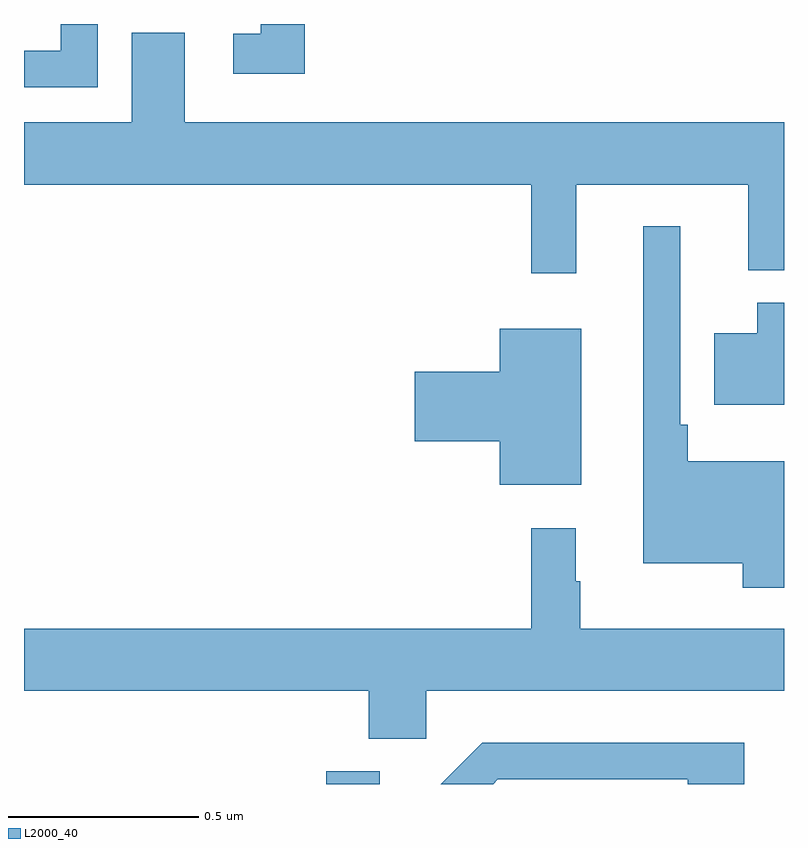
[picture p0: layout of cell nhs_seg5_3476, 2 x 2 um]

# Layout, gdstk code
import gdstk
lib = gdstk.Library(unit=1e-6, precision=1e-09)
def R(c, l, rs):  # rectangles x0, y0, x1, y1
    for r in rs: c.add(gdstk.rectangle(r[:2], r[2:], *l))
def P(c, l, *ps):  # polygons
    for p in ps: c.add(gdstk.Polygon(p, *l))
L2000_40 = (2000, 40)

nhs_seg5_3476 = lib.new_cell('nhs_seg5_3476')
R(nhs_seg5_3476, L2000_40, [(157.796,905.799,157.936,905.833)])
P(nhs_seg5_3476, L2000_40, [(157.194,907.799),(157.097,907.799),(157.097,907.728),(157,907.728),(157,907.632),(157.194,907.632)],
  [(157.739,907.799),(157.623,907.799),(157.623,907.773),(157.551,907.773),(157.551,907.668),(157.739,907.668)],
  [(158.453,907.376),(158.906,907.376),(158.906,907.151),(159,907.151),(159,907.54),(157.423,907.54),(157.423,907.776),(157.283,907.776),(157.283,907.54),(157,907.54),(157,907.376),(158.335,907.376),(158.335,907.143),(158.453,907.143)],
  [(159,906.649),(158.747,906.649),(158.747,906.745),(158.727,906.745),(158.727,907.267),(158.63,907.267),(158.63,906.38),(158.892,906.38),(158.892,906.315),(159,906.315)],
  [(159,907.066),(158.93,907.066),(158.93,906.985),(158.816,906.985),(158.816,906.797),(159,906.797)],
  [(158.467,906.997),(158.252,906.997),(158.252,906.884),(158.028,906.884),(158.028,906.701),(158.252,906.701),(158.252,906.587),(158.467,906.587)],
  [(158.058,906.044),(159,906.044),(159,906.208),(158.464,906.208),(158.464,906.332),(158.452,906.332),(158.452,906.472),(158.335,906.472),(158.335,906.208),(157,906.208),(157,906.044),(157.907,906.044),(157.907,905.918),(158.058,905.918)],
  [(158.247,905.811),(158.747,905.811),(158.747,905.799),(158.896,905.799),(158.896,905.908),(158.206,905.908),(158.097,905.799),(158.235,905.799)])

lib.write_gds('nhs_seg5_3476.gds')
